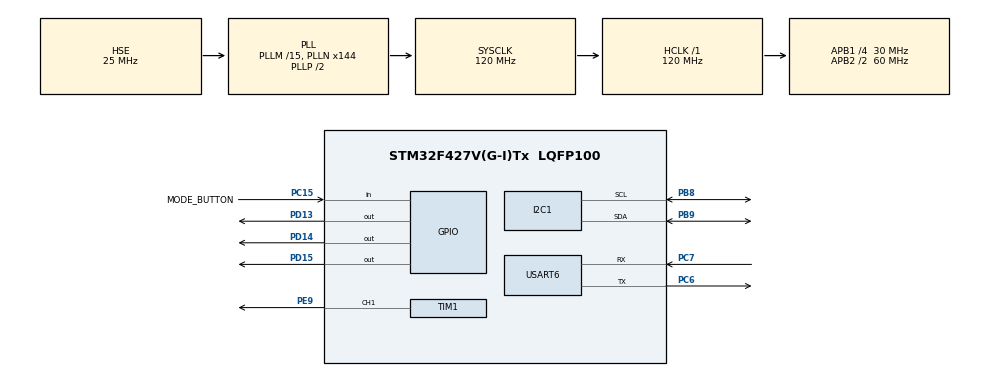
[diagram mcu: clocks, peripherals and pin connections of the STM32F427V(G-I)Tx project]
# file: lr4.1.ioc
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I2C1.I2C_Mode=I2C_Fast
Mcu.Family=STM32F4
Mcu.Name=STM32F427V(G-I)Tx
Mcu.Package=LQFP100
NVIC.PriorityGroup=NVIC_PRIORITYGROUP_4
NVIC.USART6_IRQn=true\:0\:0\:false\:false\:true\:true\:true\:true
PA13.Mode=JTAG_5_pins
PA13.Signal=SYS_JTMS-SWDIO
PA14.Mode=JTAG_5_pins
PA14.Signal=SYS_JTCK-SWCLK
PA15.Mode=JTAG_5_pins
PA15.Signal=SYS_JTDI
PB3.Mode=JTAG_5_pins
PB3.Signal=SYS_JTDO-SWO
PB4.Mode=JTAG_5_pins
PB4.Signal=SYS_JTRST
PB8.Mode=I2C
PB8.Signal=I2C1_SCL
PB9.Mode=I2C
PB9.Signal=I2C1_SDA
PC15/OSC32_OUT.GPIO_Label=MODE_BUTTON
PC15/OSC32_OUT.Signal=GPIO_Input
PC6.Mode=Asynchronous
PC6.Signal=USART6_TX
PC7.Mode=Asynchronous
PC7.Signal=USART6_RX
PD13.Signal=GPIO_Output
PD14.Signal=GPIO_Output
PD15.Signal=GPIO_Output
PE9.Signal=S_TIM1_CH1
PH0/OSC_IN.Mode=HSE-External-Oscillator
PH0/OSC_IN.Signal=RCC_OSC_IN
PH1/OSC_OUT.Mode=HSE-External-Oscillator
PH1/OSC_OUT.Signal=RCC_OSC_OUT
ProjectManager.HeapSize=0x200
ProjectManager.StackSize=0x400
ProjectManager.TargetToolchain=STM32CubeIDE
RCC.48MHZClocksFreq_Value=60000000
RCC.AHBFreq_Value=120000000
RCC.APB1CLKDivider=RCC_HCLK_DIV4
RCC.APB1Freq_Value=30000000
RCC.APB1TimFreq_Value=60000000
RCC.APB2CLKDivider=RCC_HCLK_DIV2
RCC.APB2Freq_Value=60000000
RCC.APB2TimFreq_Value=120000000
RCC.CortexFreq_Value=120000000
RCC.HCLKFreq_Value=120000000
RCC.HSE_VALUE=25000000
RCC.HSI_VALUE=16000000
RCC.LSE_VALUE=32768
RCC.PLLM=15
RCC.PLLN=144
RCC.PLLSourceVirtual=RCC_PLLSOURCE_HSE
RCC.SYSCLKFreq_VALUE=120000000
RCC.SYSCLKSource=RCC_SYSCLKSOURCE_PLLCLK
RCC.VCOOutputFreq_Value=240000000
SH.S_TIM1_CH1.0=TIM1_CH1,PWM Generation1 CH1
TIM1.Channel-PWM\ Generation1\ CH1=TIM_CHANNEL_1
USART6.VirtualMode=VM_ASYNC
board=custom

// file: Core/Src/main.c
/* USER CODE BEGIN Header */
/**
  ******************************************************************************
  * @file           : main.c
  * @brief          : Main program body
  ******************************************************************************
  * @attention
  *
  * Copyright (c) 2025 STMicroelectronics.
  * All rights reserved.
  *
  * This software is licensed under terms that can be found in the LICENSE file
  * in the root directory of this software component.
  * If no LICENSE file comes with this software, it is provided AS-IS.
  *
  ******************************************************************************
  */
/* USER CODE END Header */
#include "main.h"
#include "i2c.h"
#include "tim.h"
#include "usart.h"
#include "gpio.h"
#include "app_uart.h"
#include "keypad.h"
#include "beep.h"
#include <stdio.h>
/* USER CODE BEGIN Includes */
/* Определяем два режима */
typedef enum {
    MODE_TEST = 0,
    MODE_APP
} SystemMode_t;
/* USER CODE END Includes */

/* USER CODE BEGIN PD */
static SystemMode_t currentMode = MODE_TEST;
static uint8_t lastButtonState = 0;
static uint32_t lastModeToggleTime = 0;  // для антидребезга боковой кнопки
#define MODE_DEBOUNCE_MS  100
/* USER CODE END PD */

void SystemClock_Config(void);
static void CheckSideButton(void);

int main(void)
{

  /* MCU Configuration--------------------------------------------------------*/

  /* Reset of all peripherals, Initializes the Flash interface and the Systick. */
  HAL_Init();

  /* Configure the system clock */
  SystemClock_Config();

  /* Initialize all configured peripherals */
  MX_GPIO_Init();
  MX_I2C1_Init();
  MX_TIM1_Init();
  MX_USART6_UART_Init();
  Keypad_Init();
  BEEP_Init();

  /* USER CODE BEGIN 2 */
  APP_UART_SendString("Lab4: I2C Keypad with PCA9538, two modes\r\n");
  /* USER CODE END 2 */

  /* Infinite loop */
  while (1)
  {

    /* USER CODE BEGIN 3 */
      CheckSideButton();
      Keypad_Update();

      uint8_t key = Keypad_GetLastPressed();
      if (key != 0)
      {
          if (currentMode == MODE_TEST) {
              // Тестовый режим – просто вывести код
              char msg[64];
              snprintf(msg, sizeof(msg), "Key pressed: %d\r\n", key);
              APP_UART_SendString(msg);
          } else {
              // Прикладной режим – музыкальная клавиатура
              // Допустим, сопоставим клавиши 1..7 -> ноты,
              // 8/9 -> octave +/- , 10/11 -> duration +/- , 12 -> play all
              BEEP_HandleKey(key);
          }
      }
      BEEP_Update();
  }
  /* USER CODE END 3 */
}
static void CheckSideButton(void)
{
    uint8_t pinState = HAL_GPIO_ReadPin(MODE_BUTTON_GPIO_Port, MODE_BUTTON_Pin);
    // Предположим, "нажатие" = pinState == 0
    if (pinState == 0 && lastButtonState == 1) {
        // переход 1->0
        uint32_t now = HAL_GetTick();
        if ((now - lastModeToggleTime) > MODE_DEBOUNCE_MS) {
            // переключим режим
            if (currentMode == MODE_TEST) {
                currentMode = MODE_APP;
                APP_UART_SendString("Switched to APP mode\r\n");
            } else {
                currentMode = MODE_TEST;
                APP_UART_SendString("Switched to TEST mode\r\n");
            }
            lastModeToggleTime = now;
        }
    }
    lastButtonState = pinState;
}
void SystemClock_Config(void)
{
  RCC_OscInitTypeDef RCC_OscInitStruct = {0};
  RCC_ClkInitTypeDef RCC_ClkInitStruct = {0};

  /** Configure the main internal regulator output voltage
  */
  __HAL_RCC_PWR_CLK_ENABLE();
  __HAL_PWR_VOLTAGESCALING_CONFIG(PWR_REGULATOR_VOLTAGE_SCALE3);

  /** Initializes the RCC Oscillators according to the specified parameters
  * in the RCC_OscInitTypeDef structure.
  */
  RCC_OscInitStruct.OscillatorType = RCC_OSCILLATORTYPE_HSE;
  RCC_OscInitStruct.HSEState = RCC_HSE_ON;
  RCC_OscInitStruct.PLL.PLLState = RCC_PLL_ON;
  RCC_OscInitStruct.PLL.PLLSource = RCC_PLLSOURCE_HSE;
  RCC_OscInitStruct.PLL.PLLM = 15;
  RCC_OscInitStruct.PLL.PLLN = 144;
  RCC_OscInitStruct.PLL.PLLP = RCC_PLLP_DIV2;
  RCC_OscInitStruct.PLL.PLLQ = 4;
  if (HAL_RCC_OscConfig(&RCC_OscInitStruct) != HAL_OK)
  {
    Error_Handler();
  }

  /** Initializes the CPU, AHB and APB buses clocks
  */
  RCC_ClkInitStruct.ClockType = RCC_CLOCKTYPE_HCLK|RCC_CLOCKTYPE_SYSCLK
                              |RCC_CLOCKTYPE_PCLK1|RCC_CLOCKTYPE_PCLK2;
  RCC_ClkInitStruct.SYSCLKSource = RCC_SYSCLKSOURCE_PLLCLK;
  RCC_ClkInitStruct.AHBCLKDivider = RCC_SYSCLK_DIV1;
  RCC_ClkInitStruct.APB1CLKDivider = RCC_HCLK_DIV4;
  RCC_ClkInitStruct.APB2CLKDivider = RCC_HCLK_DIV2;

  if (HAL_RCC_ClockConfig(&RCC_ClkInitStruct, FLASH_LATENCY_3) != HAL_OK)
  {
    Error_Handler();
  }
}

void Error_Handler(void)
{
  __disable_irq();
  while (1)
  {
  }
}
